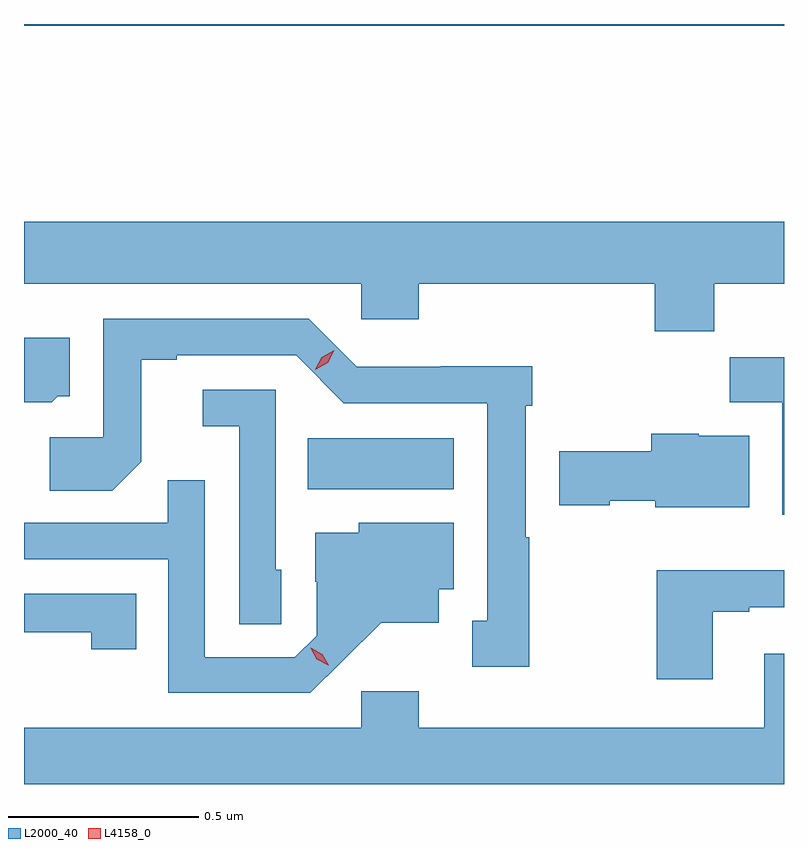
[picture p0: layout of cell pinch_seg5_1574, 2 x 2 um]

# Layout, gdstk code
import gdstk
lib = gdstk.Library(unit=1e-6, precision=1e-09)
def R(c, l, rs):  # rectangles x0, y0, x1, y1
    for r in rs: c.add(gdstk.rectangle(r[:2], r[2:], *l))
def P(c, l, *ps):  # polygons
    for p in ps: c.add(gdstk.Polygon(p, *l))
L2000_40 = (2000, 40)
L4158_0 = (4158, 0)

pinch_seg5_1574 = lib.new_cell('pinch_seg5_1574')
R(pinch_seg5_1574, L2000_40, [(305.644,864.212,306.028,864.346), (304.897,865.432,306.897,865.436)])
P(pinch_seg5_1574, L2000_40, [(306.713,864.752),(306.897,864.752),(306.897,864.916),(304.897,864.916),(304.897,864.752),(305.784,864.752),(305.784,864.659),(305.936,864.659),(305.936,864.752),(306.557,864.752),(306.557,864.628),(306.713,864.628)],
  [(306.227,864.086),(306.217,864.086),(306.217,864.431),(306.235,864.431),(306.235,864.536),(305.994,864.536),(305.994,864.534),(305.772,864.534),(305.646,864.66),(305.106,864.66),(305.106,864.348),(304.965,864.348),(304.965,864.208),(305.129,864.208),(305.205,864.284),(305.205,864.552),(305.299,864.552),(305.299,864.564),(305.613,864.564),(305.739,864.438),(306.116,864.438),(306.116,863.865),(306.077,863.865),(306.077,863.745),(306.227,863.745)],
  [(304.986,864.456),(305.017,864.456),(305.017,864.61),(304.897,864.61),(304.897,864.44),(304.97,864.44)],
  [(306.897,864.559),(306.754,864.559),(306.754,864.44),(306.893,864.44),(306.893,864.144),(306.897,864.144)],
  [(305.574,864),(305.559,864),(305.559,864.474),(305.367,864.474),(305.367,864.377),(305.463,864.377),(305.463,863.857),(305.574,863.857)],
  [(306.805,864.352),(306.672,864.352),(306.672,864.358),(306.547,864.358),(306.547,864.312),(306.306,864.312),(306.306,864.17),(306.438,864.17),(306.438,864.182),(306.558,864.182),(306.558,864.164),(306.805,864.164)],
  [(305.734,863.759),(305.837,863.861),(305.989,863.861),(305.989,863.948),(306.028,863.948),(306.028,864.124),(305.778,864.124),(305.778,864.097),(305.663,864.097),(305.663,863.968),(305.667,863.968),(305.667,863.826),(305.61,863.769),(305.373,863.769),(305.373,864.236),(305.275,864.236),(305.275,864.123),(304.897,864.123),(304.897,864.027),(305.277,864.027),(305.277,863.676),(305.65,863.676)],
  [(306.709,863.889),(306.805,863.889),(306.805,863.901),(306.897,863.901),(306.897,863.998),(306.562,863.998),(306.562,863.712),(306.709,863.712)],
  [(305.192,863.937),(304.897,863.937),(304.897,863.836),(305.074,863.836),(305.074,863.79),(305.192,863.79)],
  [(306.897,863.779),(306.845,863.779),(306.845,863.584),(305.936,863.584),(305.936,863.68),(305.784,863.68),(305.784,863.584),(304.897,863.584),(304.897,863.436),(306.897,863.436)])
P(pinch_seg5_1574, L4158_0, [(305.664,864.526),(305.664,864.527),(305.681,864.559),(305.713,864.578),(305.713,864.578),(305.713,864.578),(305.696,864.545),(305.664,864.526)],
  [(305.698,863.748),(305.668,863.764),(305.651,863.793),(305.651,863.794),(305.652,863.794),(305.682,863.778),(305.699,863.749),(305.699,863.748)])

lib.write_gds('pinch_seg5_1574.gds')
